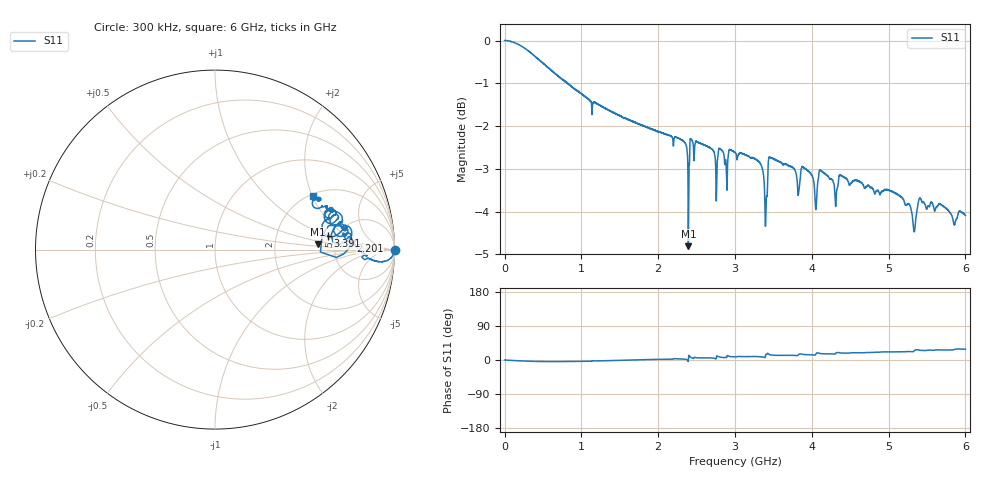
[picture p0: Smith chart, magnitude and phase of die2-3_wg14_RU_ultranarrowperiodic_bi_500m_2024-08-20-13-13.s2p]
!Keysight Technologies,P9374A,MY57304198,A.17.20.09
!Date: Tuesday, August 20, 2024 13:13:41
!Correction: S11(C  1-Port  )
!S21(C  1-Port  )
!S12(Off)
!S22(Off)
!S2P File: Measurements: S11, S21, S12, S22:
# Hz S  dB  R 50
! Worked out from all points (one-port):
!   6000 points, 300 kHz to 6 GHz, reference 50 ohm
!   lowest |S11| = -4.8 dB at 2.393 GHz (marker M1), VSWR 3.70, Z = 184 + j16.4 ohm
!   |S11| at or under -10 dB: nowhere
!   S11 on the Smith chart (normalised r, x): 300 kHz: open; 2.201 GHz: 6.91, +1.50; 3.391 GHz: 4.17, +1.04; 6 GHz: 2.07, +2.04
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300000  0.00 -0.0  -200.00 45.0  -200.00 45.0  -200.00 45.0
4.123481e8  -0.40 -3.8  -200.00 45.0  -200.00 45.0  -200.00 45.0
1.000417e9  -1.25 -3.5  -200.00 45.0  -200.00 45.0  -200.00 45.0
2.000533e9  -2.13 1.8  -200.00 45.0  -200.00 45.0  -200.00 45.0
2.200557e9  -2.42 3.5  -200.00 45.0  -200.00 45.0  -200.00 45.0
2.362576e9  -2.44 1.9  -200.00 45.0  -200.00 45.0  -200.00 45.0
2.392579e9  -4.81 3.0  -200.00 45.0  -200.00 45.0  -200.00 45.0
2.423583e9  -2.30 6.9  -200.00 45.0  -200.00 45.0  -200.00 45.0
2.513593e9  -2.37 5.7  -200.00 45.0  -200.00 45.0  -200.00 45.0
2.754621e9  -3.63 3.6  -200.00 45.0  -200.00 45.0  -200.00 45.0
3.00065e9  -2.62 8.5  -200.00 45.0  -200.00 45.0  -200.00 45.0
3.321688e9  -2.86 8.8  -200.00 45.0  -200.00 45.0  -200.00 45.0
3.390696e9  -3.98 6.8  -200.00 45.0  -200.00 45.0  -200.00 45.0
3.434701e9  -2.82 16.2  -200.00 45.0  -200.00 45.0  -200.00 45.0
4.000767e9  -3.15 13.6  -200.00 45.0  -200.00 45.0  -200.00 45.0
4.089777e9  -3.16 18.5  -200.00 45.0  -200.00 45.0  -200.00 45.0
4.280799e9  -3.32 15.8  -200.00 45.0  -200.00 45.0  -200.00 45.0
4.346807e9  -3.29 19.9  -200.00 45.0  -200.00 45.0  -200.00 45.0
5.000883e9  -3.50 21.3  -200.00 45.0  -200.00 45.0  -200.00 45.0
5.345924e9  -4.33 26.3  -200.00 45.0  -200.00 45.0  -200.00 45.0
5.429933e9  -3.75 25.1  -200.00 45.0  -200.00 45.0  -200.00 45.0
6e9  -4.09 28.7  -200.00 45.0  -200.00 45.0  -200.00 45.0
